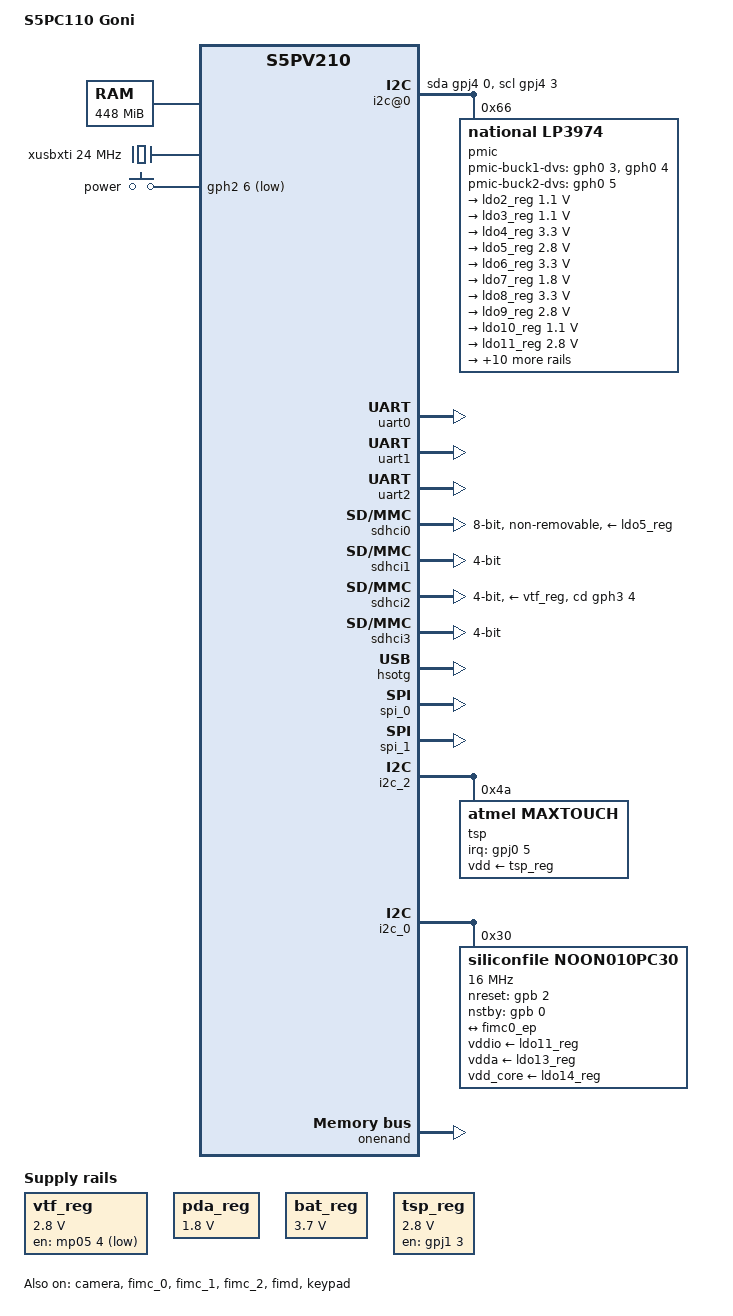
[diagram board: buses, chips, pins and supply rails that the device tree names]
/*
 * Samsung's S5PV210 SoC device tree source
 *
 * Copyright (c) 2013 Mateusz Krawczuk <m.krawczuk@partner.samsung.com>
 *
 * Samsung's S5PV210 SoC device nodes are listed in this file. S5PV210
 * based board files can include this file and provide values for board specfic
 * bindings.
 *
 * Note: This file does not include device nodes for all the controllers in
 * S5PV210 SoC. As device tree coverage for S5PV210 increases, additional
 * nodes can be added to this file.
 *
 * This program is free software; you can redistribute it and/or modify
 * it under the terms of the GNU General Public License version 2 as
 * published by the Free Software Foundation.
 */

/dts-v1/;
#include <dt-bindings/input/input.h>
#include "s5pv210.dtsi"

/ {
	model = "S5PC110 Goni";
	compatible = "samsung,goni", "samsung,s5pv210";

	chosen {
		bootargs = "console=ttySAC0,115200n8 root=/dev/mmcblk0p5 rw rootwait ignore_loglevel earlyprintk";
	};

	memory {
		device_type = "memory";
		reg = <0x30000000 0x1c000000>;
	};

	fixed-clocks {
		compatible = "simple-bus";
		#address-cells = <1>;
		#size-cells = <0>;

		xxti: oscillator@0 {
			compatible = "fixed-clock";
			reg = <0>;
			clock-output-names = "xxti";
			clock-frequency = <0>;
			#clock-cells = <0>;
		};

		xusbxti: oscillator@1 {
			compatible = "fixed-clock";
			reg = <1>;
			clock-output-names = "xusbxti";
			clock-frequency = <24000000>;
			#clock-cells = <0>;
		};
	};

	gpio-keys {
		compatible = "gpio-keys";

		power-key {
			gpios = <&gph2 6 1>;
			linux,code = <KEY_POWER>;
			label = "power";
			debounce-interval = <1>;
			gpio-key,wakeup;
		};
	};

	keypad: keypad@e1600000 {
		compatible = "samsung,s5pv210-keypad";
		reg = <0xe1600000 0x100>;
		interrupt-parent = <&vic2>;
		interrupts = <25>;
		clocks = <&clocks KEYIF>;
		clock-names = "keypad";
		status = "okay";
		linux,input-no-autorepeat;
		linux,input-wakeup;
		samsung,keypad-num-rows = <3>;
		samsung,keypad-num-columns = <3>;
		pinctrl-names = "default";
		pinctrl-0 = <&keypad_row0>, <&keypad_row1>, <&keypad_row2>,
				<&keypad_col0>, <&keypad_col1>, <&keypad_col2>;

		key_1 {
			keypad,row = <0>;
			keypad,column = <1>;
			linux,code = <KEY_CONNECT>;
		};

		key_2 {
			keypad,row = <0>;
			keypad,column = <2>;
			linux,code = <KEY_BACK>;
		};

		key_3 {
			keypad,row = <1>;
			keypad,column = <1>;
			linux,code = <KEY_CAMERA_FOCUS>;
		};

		key_4 {
			keypad,row = <1>;
			keypad,column = <2>;
			linux,code = <KEY_VOLUMEUP>;
		};

		key_5 {
			keypad,row = <2>;
			keypad,column = <1>;
			linux,code = <KEY_CAMERA>;
		};

		key_6 {
			keypad,row = <2>;
			keypad,column = <2>;
			linux,code = <KEY_VOLUMEDOWN>;
		};
	};

	regulators {
		compatible = "simple-bus";
		#address-cells = <1>;
		#size-cells = <0>;

		vtf_reg: fixed-regulator@0 {
			compatible = "regulator-fixed";
			regulator-name = "V_TF_2.8V";
			regulator-min-microvolt = <2800000>;
			regulator-max-microvolt = <2800000>;
			reg = <0>;
			gpios = <&mp05 4 0>;
		};

		pda_reg: fixed-regulator@1 {
			compatible = "regulator-fixed";
			regulator-name = "VCC_1.8V_PDA";
			regulator-min-microvolt = <1800000>;
			regulator-max-microvolt = <1800000>;
			reg = <1>;
		};

		bat_reg: fixed-regulator@2 {
			compatible = "regulator-fixed";
			regulator-name = "V_BAT";
			regulator-min-microvolt = <3700000>;
			regulator-max-microvolt = <3700000>;
			reg = <2>;
		};

		tsp_reg: fixed-regulator@3 {
			compatible = "regulator-fixed";
			regulator-name = "TSP_VDD";
			regulator-min-microvolt = <2800000>;
			regulator-max-microvolt = <2800000>;
			reg = <3>;
			gpios = <&gpj1 3 0>;
			enable-active-high;
		};
	};

	i2c@0 {
		compatible = "i2c-gpio";
		gpios = <&gpj4 0 0>, /* sda */
			<&gpj4 3 0>; /* scl */
		i2c-gpio,delay-us = <2>;        /* ~100 kHz */
		#address-cells = <1>;
		#size-cells = <0>;

		pmic@66 {
			compatible = "national,lp3974";
			reg = <0x66>;

			max8998,pmic-buck1-default-dvs-idx = <0>;
			max8998,pmic-buck1-dvs-gpios = <&gph0 3 0>,
							<&gph0 4 0>;
			max8998,pmic-buck1-dvs-voltage = <1200000>, <1200000>,
							<1200000>, <1200000>;

			max8998,pmic-buck2-default-dvs-idx = <0>;
			max8998,pmic-buck2-dvs-gpio = <&gph0 5 0>;
			max8998,pmic-buck2-dvs-voltage = <1200000>, <1200000>;

			regulators {
				ldo2_reg: LDO2 {
					regulator-name = "VALIVE_1.1V";
					regulator-min-microvolt = <1100000>;
					regulator-max-microvolt = <1100000>;
					regulator-always-on;
				};

				ldo3_reg: LDO3 {
					regulator-name = "VUSB+MIPI_1.1V";
					regulator-min-microvolt = <1100000>;
					regulator-max-microvolt = <1100000>;
					regulator-always-on;
				};

				ldo4_reg: LDO4 {
					regulator-name = "VADC_3.3V";
					regulator-min-microvolt = <3300000>;
					regulator-max-microvolt = <3300000>;
				};

				ldo5_reg: LDO5 {
					regulator-name = "VTF_2.8V";
					regulator-min-microvolt = <2800000>;
					regulator-max-microvolt = <2800000>;
				};

				ldo6_reg: LDO6 {
					regulator-name = "VCC_3.3V";
					regulator-min-microvolt = <3300000>;
					regulator-max-microvolt = <3300000>;
				};

				ldo7_reg: LDO7 {
					regulator-name = "VLCD_1.8V";
					regulator-min-microvolt = <1800000>;
					regulator-max-microvolt = <1800000>;
					regulator-always-on;
				};

				ldo8_reg: LDO8 {
					regulator-name = "VUSB+VDAC_3.3V";
					regulator-min-microvolt = <3300000>;
					regulator-max-microvolt = <3300000>;
				};

				ldo9_reg: LDO9 {
					regulator-name = "VCC+VCAM_2.8V";
					regulator-min-microvolt = <2800000>;
					regulator-max-microvolt = <2800000>;
				};

				ldo10_reg: LDO10 {
					regulator-name = "VPLL_1.1V";
					regulator-min-microvolt = <1100000>;
					regulator-max-microvolt = <1100000>;
					regulator-boot-on;
				};

				ldo11_reg: LDO11 {
					regulator-name = "CAM_IO_2.8V";
					regulator-min-microvolt = <2800000>;
					regulator-max-microvolt = <2800000>;
				};

				ldo12_reg: LDO12 {
					regulator-name = "CAM_ISP_1.2V";
					regulator-min-microvolt = <1200000>;
					regulator-max-microvolt = <1200000>;
				};

				ldo13_reg: LDO13 {
					regulator-name = "CAM_A_2.8V";
					regulator-min-microvolt = <2800000>;
					regulator-max-microvolt = <2800000>;
				};

				ldo14_reg: LDO14 {
					regulator-name = "CAM_CIF_1.8V";
					regulator-min-microvolt = <1800000>;
					regulator-max-microvolt = <1800000>;
				};

				ldo15_reg: LDO15 {
					regulator-name = "CAM_AF_3.3V";
					regulator-min-microvolt = <3300000>;
					regulator-max-microvolt = <3300000>;
				};

				ldo16_reg: LDO16 {
					regulator-name = "VMIPI_1.8V";
					regulator-min-microvolt = <1800000>;
					regulator-max-microvolt = <1800000>;
				};

				ldo17_reg: LDO17 {
					regulator-name = "CAM_8M_1.8V";
					regulator-min-microvolt = <1800000>;
					regulator-max-microvolt = <1800000>;
					regulator-always-on;
				};

				buck1_reg: BUCK1 {
					regulator-name = "VARM_1.2V";
					regulator-min-microvolt = <1200000>;
					regulator-max-microvolt = <1200000>;
				};

				buck2_reg: BUCK2 {
					regulator-name = "VINT_1.2V";
					regulator-min-microvolt = <1200000>;
					regulator-max-microvolt = <1200000>;
				};

				buck3_reg: BUCK3 {
					regulator-name = "VCC_1.8V";
					regulator-min-microvolt = <1800000>;
					regulator-max-microvolt = <1800000>;
					regulator-always-on;
				};

				buck4_reg: BUCK4 {
					regulator-name = "CAM_CORE_1.2V";
					regulator-min-microvolt = <1200000>;
					regulator-max-microvolt = <1200000>;
					regulator-always-on;
				};
			};
		};
	};
};

&uart0 {
	status = "okay";
};

&uart1 {
	status = "okay";
};

&uart2 {
	status = "okay";
};

&sdhci0 {
	bus-width = <8>;
	non-removable;
	vmmc-supply = <&ldo5_reg>;
	status = "okay";
};

&sdhci1 {
	bus-width = <4>;
	pinctrl-0 = <&sd1_clk &sd1_cmd &sd1_cd &sd1_bus4>;
	pinctrl-names = "default";
	status = "okay";
};

&sdhci2 {
	bus-width = <4>;
	cd-gpios = <&gph3 4 1>;
	vmmc-supply = <&vtf_reg>;
	cd-inverted;
	pinctrl-0 = <&sd2_clk &sd2_cmd &sd2_bus4>;
	pinctrl-names = "default";
	status = "okay";
};

&sdhci3 {
	bus-width = <4>;
	pinctrl-0 = <&sd3_clk &sd3_cmd &sd3_cd &sd3_bus4>;
	status = "okay";
};

&hsotg {
	vusb_a-supply = <&ldo3_reg>;
	vusb_d-supply = <&ldo8_reg>;
	status = "okay";
};

&usbphy {
	clocks = <&clocks USB_OTG>, <&xusbxti>, <&clocks SCLK_USBPHY1>;
	clock-names = "phy", "device", "host";
};

&spi_0 {
	status = "okay";
};

&spi_1 {
	status = "okay";
};

&i2c_2 {
	status = "okay";
	samsung,i2c-sda-delay = <100>;
	samsung,i2c-max-bus-freq = <400000>;
	samsung,i2c-slave-addr = <0x10>;

	tsp@4a {
		compatible = "atmel,maxtouch";
		reg = <0x4a>;
		interrupt-parent = <&gpj0>;
		interrupts = <5 2>;

		atmel,x-line = <17>;
		atmel,y-line = <11>;
		atmel,x-size = <800>;
		atmel,y-size = <480>;
		atmel,burst-length = <0x21>;
		atmel,threshold = <0x28>;
		atmel,orientation = <1>;

		vdd-supply = <&tsp_reg>;
	};
};

&i2c_0 {
	status = "okay";
	samsung,i2c-slave-addr = <0x10>;

	noon010pc30: sensor@30 {
		compatible = "siliconfile,noon010pc30";
		reg = <0x30>;
		vddio-supply = <&ldo11_reg>;
		vdda-supply = <&ldo13_reg>;
		vdd_core-supply = <&ldo14_reg>;

		clock-frequency = <16000000>;
		clocks = <&clock_cam 0>;
		clock-names = "mclk";
		nreset-gpios = <&gpb 2 0>;
		nstby-gpios = <&gpb 0 0>;

		port {
			noon010pc30_ep: endpoint {
				remote-endpoint = <&fimc0_ep>;
				bus-width = <8>;
				hsync-active = <0>;
				vsync-active = <1>;
				pclk-sample = <1>;
			};
		};
	};
};

&camera {
	status = "okay";
	parallel-ports {
			#address-cells = <1>;
			#size-cells = <0>;
		/* camera A input */
		port@1 {
			reg = <1>;
			fimc0_ep: endpoint {
				remote-endpoint = <&noon010pc30_ep>;
				bus-width = <8>;
				hsync-active = <1>;
				vsync-active = <1>;
				pclk-sample = <0>;
			};
		};
	};
};

&fimc_0 {
	status = "okay";
};

&fimc_1 {
	status = "okay";
};

&fimc_2 {
	status = "okay";
};

&fimd {
	pinctrl-0 = <&lcd_clk &lcd_data24 &pwm1_out>;
	pinctrl-names = "default";
	status = "okay";

	display-timings {
		native-mode = <&timing0>;
		timing0: timing {
			clock-frequency = <0>;
			hactive = <800>;
			vactive = <480>;
			hfront-porch = <16>;
			hback-porch = <16>;
			hsync-len = <2>;
			vback-porch = <2>;
			vfront-porch = <28>;
			vsync-len = <1>;
		};
	};
};

&onenand {
	status = "okay";
};
